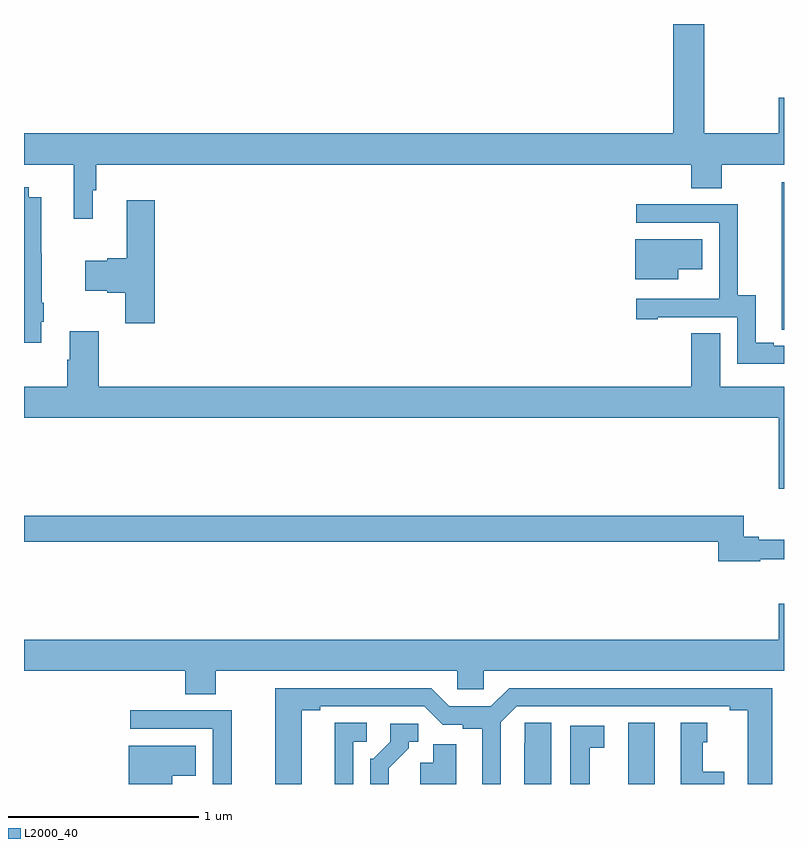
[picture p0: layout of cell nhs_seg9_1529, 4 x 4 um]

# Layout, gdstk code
import gdstk
lib = gdstk.Library(unit=1e-6, precision=1e-09)
def R(c, l, rs):  # rectangles x0, y0, x1, y1
    for r in rs: c.add(gdstk.rectangle(r[:2], r[2:], *l))
def P(c, l, *ps):  # polygons
    for p in ps: c.add(gdstk.Polygon(p, *l))
L2000_40 = (2000, 40)

nhs_seg9_1529 = lib.new_cell('nhs_seg9_1529')
R(nhs_seg9_1529, L2000_40, [(200.18,1186.5,200.32,1186.822)])
P(nhs_seg9_1529, L2000_40, [(197.362,1189.626),(197.381,1189.626),(197.381,1189.76),(200.513,1189.76),(200.513,1189.636),(200.673,1189.636),(200.673,1189.76),(201,1189.76),(201,1190.113),(200.972,1190.113),(200.972,1189.924),(200.581,1189.924),(200.581,1190.5),(200.417,1190.5),(200.417,1189.924),(197,1189.924),(197,1189.76),(197.263,1189.76),(197.263,1189.476),(197.362,1189.476)],
  [(201,1189.668),(200.987,1189.668),(200.987,1189),(200.988,1189),(200.988,1188.892),(201,1188.892)],
  [(197.092,1188.934),(197.104,1188.934),(197.104,1189.034),(197.094,1189.034),(197.094,1189.293),(197.092,1189.293),(197.092,1189.588),(197.026,1189.588),(197.026,1189.642),(197,1189.642),(197,1188.822),(197.092,1188.822)],
  [(197.687,1189.573),(197.54,1189.573),(197.54,1189.268),(197.439,1189.268),(197.439,1189.255),(197.322,1189.255),(197.322,1189.097),(197.439,1189.097),(197.439,1189.085),(197.533,1189.085),(197.533,1188.924),(197.687,1188.924)],
  [(201,1188.807),(200.947,1188.807),(200.947,1188.822),(200.851,1188.822),(200.851,1189.073),(200.757,1189.073),(200.757,1189.551),(200.223,1189.551),(200.223,1189.455),(200.658,1189.455),(200.658,1189.054),(200.657,1189.054),(200.657,1189.053),(200.223,1189.053),(200.223,1188.945),(200.335,1188.945),(200.335,1188.957),(200.754,1188.957),(200.754,1188.711),(201,1188.711)],
  [(200.443,1189.208),(200.569,1189.208),(200.569,1189.366),(200.216,1189.366),(200.216,1189.157),(200.443,1189.157)],
  [(201,1188.592),(200.665,1188.592),(200.665,1188.872),(200.513,1188.872),(200.513,1188.592),(197.393,1188.592),(197.393,1188.883),(197.24,1188.883),(197.24,1188.734),(197.228,1188.734),(197.228,1188.592),(197,1188.592),(197,1188.428),(200.972,1188.428),(200.972,1188.054),(201,1188.054)],
  [(200.876,1187.683),(201,1187.683),(201,1187.786),(200.866,1187.786),(200.866,1187.801),(200.789,1187.801),(200.789,1187.912),(197,1187.912),(197,1187.776),(200.653,1187.776),(200.653,1187.673),(200.876,1187.673)],
  [(198.009,1187.096),(199.281,1187.096),(199.281,1186.998),(199.419,1186.998),(199.419,1187.096),(201,1187.096),(201,1187.449),(200.972,1187.449),(200.972,1187.26),(197,1187.26),(197,1187.096),(197.849,1187.096),(197.849,1186.972),(198.009,1186.972)],
  [(198.463,1186.888),(198.559,1186.888),(198.559,1186.908),(199.107,1186.908),(199.203,1186.812),(199.308,1186.812),(199.308,1186.792),(199.412,1186.792),(199.412,1186.5),(199.509,1186.5),(199.509,1186.824),(199.593,1186.908),(200.714,1186.908),(200.714,1186.888),(200.81,1186.888),(200.81,1186.5),(200.938,1186.5),(200.938,1187.004),(199.553,1187.004),(199.457,1186.908),(199.239,1186.908),(199.143,1187.004),(198.323,1187.004),(198.323,1186.5),(198.463,1186.5)],
  [(198.093,1186.887),(197.559,1186.887),(197.559,1186.791),(197.994,1186.791),(197.994,1186.5),(198.093,1186.5)],
  [(198.732,1186.722),(198.805,1186.722),(198.805,1186.823),(198.635,1186.823),(198.635,1186.5),(198.732,1186.5)],
  [(199.774,1186.823),(199.635,1186.823),(199.635,1186.715),(199.634,1186.715),(199.634,1186.5),(199.774,1186.5)],
  [(200.686,1186.564),(200.572,1186.564),(200.572,1186.719),(200.596,1186.719),(200.596,1186.822),(200.456,1186.822),(200.456,1186.5),(200.686,1186.5)],
  [(198.919,1186.582),(199.024,1186.687),(199.024,1186.722),(199.074,1186.722),(199.074,1186.818),(198.927,1186.818),(198.927,1186.722),(198.837,1186.632),(198.822,1186.632),(198.822,1186.5),(198.919,1186.5)],
  [(199.978,1186.69),(200.053,1186.69),(200.053,1186.806),(199.874,1186.806),(199.874,1186.5),(199.978,1186.5)],
  [(199.276,1186.71),(199.154,1186.71),(199.154,1186.612),(199.085,1186.612),(199.085,1186.5),(199.276,1186.5)],
  [(197.779,1186.544),(197.905,1186.544),(197.905,1186.702),(197.552,1186.702),(197.552,1186.5),(197.779,1186.5)])

lib.write_gds('nhs_seg9_1529.gds')
